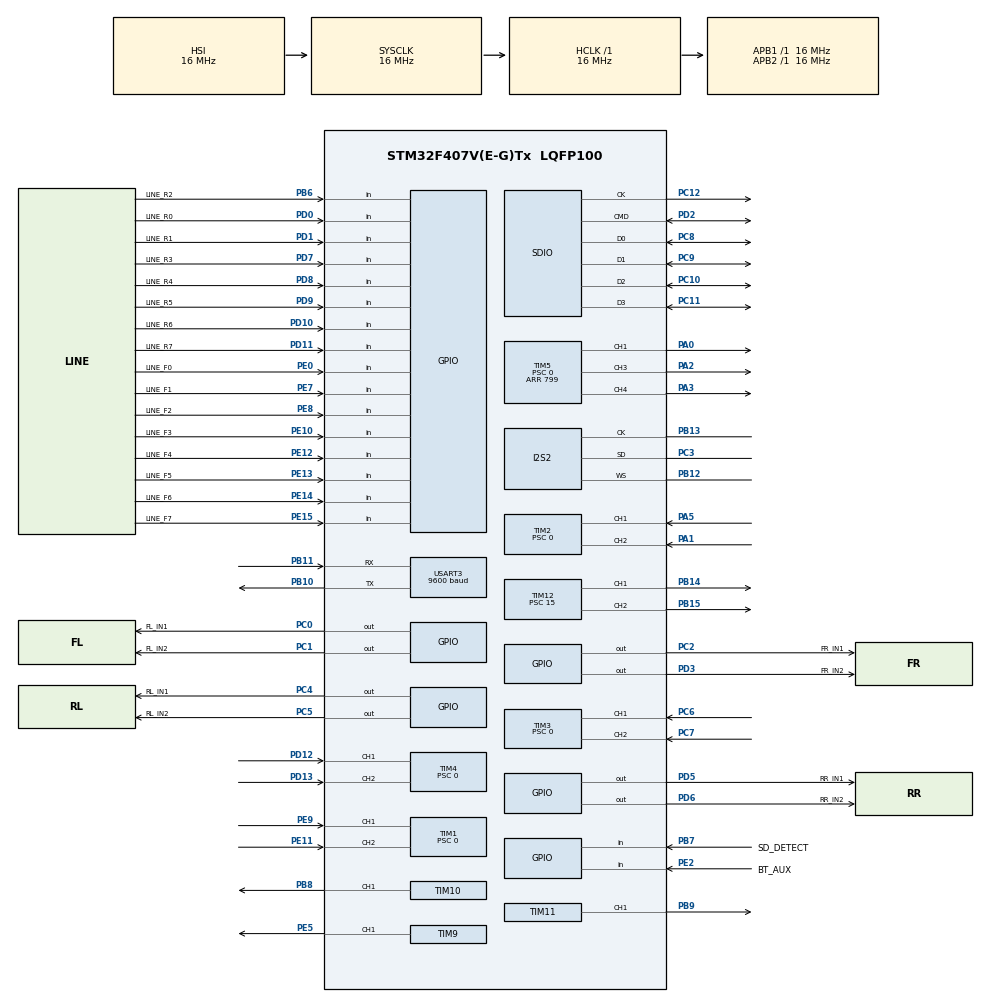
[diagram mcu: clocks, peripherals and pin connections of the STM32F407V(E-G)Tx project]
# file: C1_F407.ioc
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Dma.Request0=SPI2_TX
Dma.SPI2_TX.0.Direction=DMA_MEMORY_TO_PERIPH
Dma.SPI2_TX.0.FIFOMode=DMA_FIFOMODE_DISABLE
Dma.SPI2_TX.0.Instance=DMA1_Stream4
Dma.SPI2_TX.0.MemDataAlignment=DMA_MDATAALIGN_HALFWORD
Dma.SPI2_TX.0.MemInc=DMA_MINC_ENABLE
Dma.SPI2_TX.0.Mode=DMA_CIRCULAR
Dma.SPI2_TX.0.PeriphDataAlignment=DMA_PDATAALIGN_HALFWORD
Dma.SPI2_TX.0.PeriphInc=DMA_PINC_DISABLE
Dma.SPI2_TX.0.Priority=DMA_PRIORITY_LOW
FATFS.USE_DMA_CODE_SD=0
I2S2.AudioFreq=I2S_AUDIOFREQ_48K
I2S2.DataFormat=I2S_DATAFORMAT_16B
I2S2.ErrorAudioFreq=0.0 %
I2S2.FullDuplexMode=I2S_FULLDUPLEXMODE_DISABLE
I2S2.Instance=SPI$Index
I2S2.Mode=I2S_MODE_MASTER_TX
I2S2.RealAudioFreq=48.0 KHz
I2S2.VirtualMode=I2S_MODE_MASTER
Mcu.Family=STM32F4
Mcu.Name=STM32F407V(E-G)Tx
Mcu.Package=LQFP100
NVIC.DMA1_Stream4_IRQn=true\:6\:0\:false\:false\:true\:false\:true\:true
NVIC.PriorityGroup=NVIC_PRIORITYGROUP_4
PA0-WKUP.Signal=S_TIM5_CH1
PA1.Signal=S_TIM2_CH2
PA13.Mode=Serial_Wire
PA13.Signal=SYS_JTMS-SWDIO
PA14.Mode=Serial_Wire
PA14.Signal=SYS_JTCK-SWCLK
PA2.Signal=S_TIM5_CH3
PA3.Signal=S_TIM5_CH4
PA5.Signal=S_TIM2_CH1_ETR
PB10.Mode=Asynchronous
PB10.Signal=USART3_TX
PB11.Mode=Asynchronous
PB11.Signal=USART3_RX
PB12.Mode=Half_Duplex_Master
PB12.Signal=I2S2_WS
PB13.Mode=Half_Duplex_Master
PB13.Signal=I2S2_CK
PB14.Signal=S_TIM12_CH1
PB15.Signal=S_TIM12_CH2
PB6.GPIO_Label=LINE_R2
PB6.Signal=GPIO_Input
PB7.GPIO_Label=SD_DETECT
PB7.GPIO_PuPd=GPIO_PULLDOWN
PB7.Signal=GPIO_Input
PB8.Signal=S_TIM10_CH1
PB9.Signal=S_TIM11_CH1
PC0.GPIO_Label=FL_IN1
PC0.Signal=GPIO_Output
PC1.GPIO_Label=FL_IN2
PC1.Signal=GPIO_Output
PC10.GPIO_PuPd=GPIO_PULLUP
PC10.Mode=SD_4_bits_Wide_bus
PC10.Signal=SDIO_D2
PC11.GPIO_PuPd=GPIO_PULLUP
PC11.Mode=SD_4_bits_Wide_bus
PC11.Signal=SDIO_D3
PC12.Mode=SD_4_bits_Wide_bus
PC12.Signal=SDIO_CK
PC2.GPIO_Label=FR_IN1
PC2.Signal=GPIO_Output
PC3.Mode=Half_Duplex_Master
PC3.Signal=I2S2_SD
PC4.GPIO_Label=RL_IN1
PC4.Signal=GPIO_Output
PC5.GPIO_Label=RL_IN2
PC5.Signal=GPIO_Output
PC6.Signal=S_TIM3_CH1
PC7.Signal=S_TIM3_CH2
PC8.GPIO_PuPd=GPIO_PULLUP
PC8.Mode=SD_4_bits_Wide_bus
PC8.Signal=SDIO_D0
PC9.GPIO_PuPd=GPIO_PULLUP
PC9.Mode=SD_4_bits_Wide_bus
PC9.Signal=SDIO_D1
PD0.GPIO_Label=LINE_R0
PD0.Signal=GPIO_Input
PD1.GPIO_Label=LINE_R1
PD1.Signal=GPIO_Input
PD10.GPIO_Label=LINE_R6
PD10.Signal=GPIO_Input
PD11.GPIO_Label=LINE_R7
PD11.Signal=GPIO_Input
PD12.Signal=S_TIM4_CH1
PD13.Signal=S_TIM4_CH2
PD2.GPIO_PuPd=GPIO_PULLUP
PD2.Mode=SD_4_bits_Wide_bus
PD2.Signal=SDIO_CMD
PD3.GPIO_Label=FR_IN2
PD3.Signal=GPIO_Output
PD5.GPIO_Label=RR_IN1
PD5.Signal=GPIO_Output
PD6.GPIO_Label=RR_IN2
PD6.Signal=GPIO_Output
PD7.GPIO_Label=LINE_R3
PD7.Signal=GPIO_Input
PD8.GPIO_Label=LINE_R4
PD8.Signal=GPIO_Input
PD9.GPIO_Label=LINE_R5
PD9.Signal=GPIO_Input
PE0.GPIO_Label=LINE_F0
PE0.Signal=GPIO_Input
PE10.GPIO_Label=LINE_F3
PE10.Signal=GPIO_Input
PE11.Signal=S_TIM1_CH2
PE12.GPIO_Label=LINE_F4
PE12.Signal=GPIO_Input
PE13.GPIO_Label=LINE_F5
PE13.Signal=GPIO_Input
PE14.GPIO_Label=LINE_F6
PE14.Signal=GPIO_Input
PE15.GPIO_Label=LINE_F7
PE15.Signal=GPIO_Input
PE2.GPIO_Label=BT_AUX
PE2.Signal=GPIO_Input
PE5.Signal=S_TIM9_CH1
PE7.GPIO_Label=LINE_F1
PE7.Signal=GPIO_Input
PE8.GPIO_Label=LINE_F2
PE8.Signal=GPIO_Input
PE9.Signal=S_TIM1_CH1
ProjectManager.HeapSize=0x200
ProjectManager.StackSize=0x400
ProjectManager.TargetToolchain=MDK-ARM V5
RCC.48MHZClocksFreq_Value=48000000
RCC.AHBFreq_Value=16000000
RCC.APB1Freq_Value=16000000
RCC.APB2Freq_Value=16000000
RCC.CortexFreq_Value=16000000
RCC.HSE_VALUE=25000000
RCC.HSI_VALUE=16000000
RCC.LSE_VALUE=32768
RCC.PLLI2SN=384
RCC.PLLI2SR=5
RCC.PLLM=16
RCC.PLLN=192
RCC.PLLP=RCC_PLLP_DIV2
RCC.PLLQ=4
RCC.PLLSourceVirtual=RCC_PLLSOURCE_HSI
RCC.SYSCLKFreq_VALUE=16000000
RCC.VCOOutputFreq_Value=192000000
SDIO.ClockDiv=2
SH.S_TIM10_CH1.0=TIM10_CH1,PWM Generation1 CH1
SH.S_TIM11_CH1.0=TIM11_CH1,PWM Generation1 CH1
SH.S_TIM12_CH1.0=TIM12_CH1,PWM Generation1 CH1
SH.S_TIM12_CH2.0=TIM12_CH2,PWM Generation2 CH2
SH.S_TIM1_CH1.0=TIM1_CH1,Encoder_Interface
SH.S_TIM1_CH2.0=TIM1_CH2,Encoder_Interface
SH.S_TIM2_CH1_ETR.0=TIM2_CH1,Encoder_Interface
SH.S_TIM2_CH2.0=TIM2_CH2,Encoder_Interface
SH.S_TIM3_CH1.0=TIM3_CH1,Encoder_Interface
SH.S_TIM3_CH2.0=TIM3_CH2,Encoder_Interface
SH.S_TIM4_CH1.0=TIM4_CH1,Encoder_Interface
SH.S_TIM4_CH2.0=TIM4_CH2,Encoder_Interface
SH.S_TIM5_CH1.0=TIM5_CH1,PWM Generation1 CH1
SH.S_TIM5_CH3.0=TIM5_CH3,PWM Generation3 CH3
SH.S_TIM5_CH4.0=TIM5_CH4,PWM Generation4 CH4
SH.S_TIM9_CH1.0=TIM9_CH1,PWM Generation1 CH1
TIM1.EncoderMode=TIM_ENCODERMODE_TI12
TIM1.Period=65535
TIM1.Prescaler=0
TIM10.Channel=TIM_CHANNEL_1
TIM10.Channel-PWM\ Generation1\ CH1=TIM_CHANNEL_1
TIM10.Period=19999
TIM10.Prescaler=15
TIM11.Channel=TIM_CHANNEL_1
TIM11.Channel-PWM\ Generation1\ CH1=TIM_CHANNEL_1
TIM11.Period=19999
TIM11.Prescaler=15
TIM12.Channel-PWM\ Generation1\ CH1=TIM_CHANNEL_1
TIM12.Channel-PWM\ Generation2\ CH2=TIM_CHANNEL_2
TIM12.Period=19999
TIM12.Prescaler=15
TIM2.EncoderMode=TIM_ENCODERMODE_TI12
TIM2.Period=4294967295
TIM2.Prescaler=0
TIM3.EncoderMode=TIM_ENCODERMODE_TI12
TIM3.Period=65535
TIM3.Prescaler=0
TIM4.EncoderMode=TIM_ENCODERMODE_TI12
TIM4.Period=65535
TIM4.Prescaler=0
TIM5.Channel-PWM\ Generation1\ CH1=TIM_CHANNEL_1
TIM5.Channel-PWM\ Generation3\ CH3=TIM_CHANNEL_3
TIM5.Channel-PWM\ Generation4\ CH4=TIM_CHANNEL_4
TIM5.Period=799
TIM5.Prescaler=0
TIM9.Channel-PWM\ Generation1\ CH1=TIM_CHANNEL_1
TIM9.Period=799
TIM9.Prescaler=0
USART3.BaudRate=9600
USART3.VirtualMode=VM_ASYNC
VP_FATFS_VS_SDIO.Mode=SDIO
VP_TIM10_VS_ClockSourceINT.Mode=Enable_Timer
VP_TIM11_VS_ClockSourceINT.Mode=Enable_Timer
VP_TIM12_VS_ClockSourceINT.Mode=Internal
VP_TIM5_VS_ClockSourceINT.Mode=Internal
VP_TIM9_VS_ClockSourceINT.Mode=Internal
board=custom

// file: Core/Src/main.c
/* USER CODE BEGIN Header */
/**
  ******************************************************************************
  * @file           : main.c
  * @brief          : Main program body
  ******************************************************************************
  * @attention
  *
  * Copyright (c) 2026 STMicroelectronics.
  * All rights reserved.
  *
  * This software is licensed under terms that can be found in the LICENSE file
  * in the root directory of this software component.
  * If no LICENSE file comes with this software, it is provided AS-IS.
  *
  ******************************************************************************
  */
/* USER CODE END Header */
#include "main.h"
#include "dma.h"
#include "fatfs.h"
#include "i2s.h"
#include "sdio.h"
#include "tim.h"
#include "usart.h"
#include "gpio.h"

/* USER CODE BEGIN Includes */
#include "main_template.h"
#include "c1_settings.h"
#include "orient.h"

/* USER CODE END Includes */

void SystemClock_Config(void);

int main(void)
{

  /* MCU Configuration--------------------------------------------------------*/

  /* Reset of all peripherals, Initializes the Flash interface and the Systick. */
  HAL_Init();

  /* Configure the system clock */
  SystemClock_Config();

  /* Initialize all configured peripherals */
  MX_GPIO_Init();
  MX_DMA_Init();
  MX_TIM1_Init();
  MX_TIM2_Init();
  MX_TIM3_Init();
  MX_TIM4_Init();
  MX_TIM5_Init();
  MX_TIM9_Init();
  MX_TIM10_Init();
  MX_TIM11_Init();
  MX_TIM12_Init();
  MX_USART3_UART_Init();
  MX_SDIO_SD_Init();
  MX_I2S2_Init();
  MX_FATFS_Init();
  /* USER CODE BEGIN 2 */
  TIM_HandleTypeDef *const encoders[] = {&htim2, &htim3, &htim4, &htim1};
  for (unsigned i = 0; i < sizeof encoders / sizeof encoders[0]; ++i) {
    if (HAL_TIM_Encoder_Start(encoders[i], TIM_CHANNEL_ALL) != HAL_OK) Error_Handler();
  }
#if C1_ENABLE_DRIVE
  if (C1_Bench_Init(&chassis) != HAL_OK) Error_Handler();
#else
  App_Init(C1_REMOTE_TIMEOUT_MS);
#endif
#if C1_ENABLE_ARM
  if (Arm_Init(arm_joints) != HAL_OK) Error_Handler();
#endif
#if C1_ENABLE_LINE
  OrientConfigure(C1_LINE_FORWARD_MM_S, C1_LINE_TURN_DEG_S,
                  C1_LINE_LATERAL_GAIN, C1_LINE_YAW_GAIN);
#endif

  /* USER CODE END 2 */

  /* Infinite loop */
  while (1)
  {

    /* USER CODE BEGIN 3 */
    App_PollBluetooth(&huart3);
    App_Loop();
  }
  /* USER CODE END 3 */
}

void SystemClock_Config(void)
{
  RCC_OscInitTypeDef RCC_OscInitStruct = {0};
  RCC_ClkInitTypeDef RCC_ClkInitStruct = {0};

  /** Configure the main internal regulator output voltage
  */
  __HAL_RCC_PWR_CLK_ENABLE();
  __HAL_PWR_VOLTAGESCALING_CONFIG(PWR_REGULATOR_VOLTAGE_SCALE1);

  /** Initializes the RCC Oscillators according to the specified parameters
  * in the RCC_OscInitTypeDef structure.
  */
  RCC_OscInitStruct.OscillatorType = RCC_OSCILLATORTYPE_HSI;
  RCC_OscInitStruct.HSIState = RCC_HSI_ON;
  RCC_OscInitStruct.HSICalibrationValue = RCC_HSICALIBRATION_DEFAULT;
  RCC_OscInitStruct.PLL.PLLState = RCC_PLL_ON;
  RCC_OscInitStruct.PLL.PLLSource = RCC_PLLSOURCE_HSI;
  RCC_OscInitStruct.PLL.PLLM = 16;
  RCC_OscInitStruct.PLL.PLLN = 192;
  RCC_OscInitStruct.PLL.PLLP = RCC_PLLP_DIV2;
  RCC_OscInitStruct.PLL.PLLQ = 4;
  if (HAL_RCC_OscConfig(&RCC_OscInitStruct) != HAL_OK)
  {
    Error_Handler();
  }

  /** Initializes the CPU, AHB and APB buses clocks
  */
  RCC_ClkInitStruct.ClockType = RCC_CLOCKTYPE_HCLK|RCC_CLOCKTYPE_SYSCLK
                              |RCC_CLOCKTYPE_PCLK1|RCC_CLOCKTYPE_PCLK2;
  RCC_ClkInitStruct.SYSCLKSource = RCC_SYSCLKSOURCE_HSI;
  RCC_ClkInitStruct.AHBCLKDivider = RCC_SYSCLK_DIV1;
  RCC_ClkInitStruct.APB1CLKDivider = RCC_HCLK_DIV1;
  RCC_ClkInitStruct.APB2CLKDivider = RCC_HCLK_DIV1;

  if (HAL_RCC_ClockConfig(&RCC_ClkInitStruct, FLASH_LATENCY_0) != HAL_OK)
  {
    Error_Handler();
  }
}

void Error_Handler(void)
{
  __disable_irq();
  while (1)
  {
  }
}
